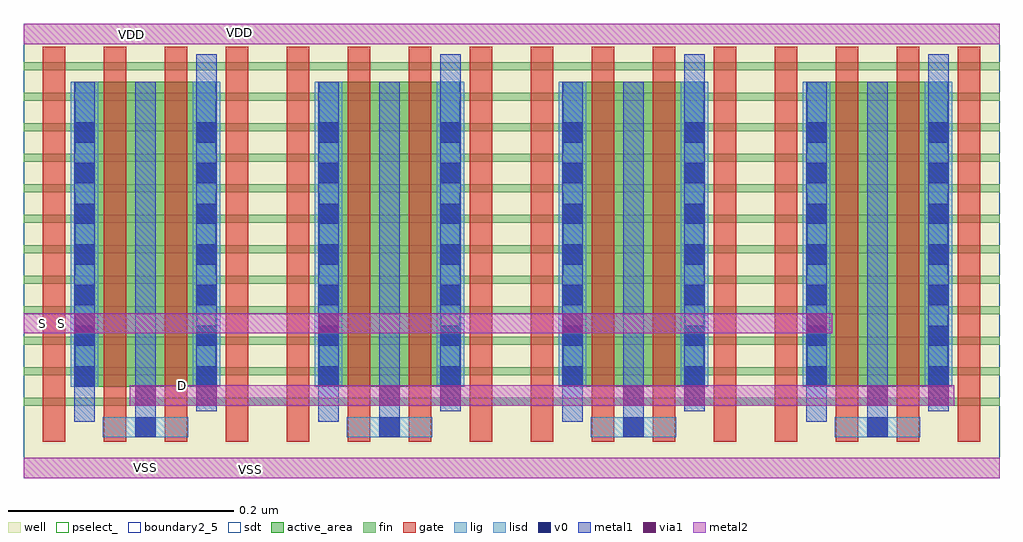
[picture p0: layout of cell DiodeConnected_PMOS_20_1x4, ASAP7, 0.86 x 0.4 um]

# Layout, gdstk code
import gdstk
lib = gdstk.Library(unit=1e-6, precision=2.5e-10)
def R(c, l, rs):  # rectangles x0, y0, x1, y1
    for r in rs: c.add(gdstk.rectangle(r[:2], r[2:], *l))
def A(c, l, x, y, w, h, nx, ny, dx, dy):  # array of equal rectangles
    R(c, l, [(x+i*dx, y+j*dy, x+i*dx+w, y+j*dy+h) for i in range(nx) for j in range(ny)])
well = (1, 0)
fin = (2, 0)
gate = (7, 0)
active_area = (11, 0)
pselect_ = (13, 0)
lig = (16, 0)
lisd = (17, 0)
v0 = (18, 0)
metal1 = (19, 0)
metal2 = (20, 0)
via1 = (21, 0)
sdt = (88, 0)
boundary2_5 = (235, 5)

m2_m1_cdns_543943358320 = lib.new_cell('M2_M1_CDNS_543943358320')
R(m2_m1_cdns_543943358320, metal1, [(-0.009,-0.014,0.009,0.014)])
R(m2_m1_cdns_543943358320, metal2, [(-0.014,-0.009,0.014,0.009)])
R(m2_m1_cdns_543943358320, via1, [(-0.009,-0.009,0.009,0.009)])

diodeconnected_pmos_20_1 = lib.new_cell('DiodeConnected_PMOS_20_1x4')
A(diodeconnected_pmos_20_1, well, 0, 0, 0.216, 0.402, 4, 1, 0.216, 0)
A(diodeconnected_pmos_20_1, fin, 0, 0.064, 0.216, 0.007, 4, 10, 0.216, 0.027)
R(diodeconnected_pmos_20_1, fin, [(0,0.334,0.216,0.341), (0,0.334,0.216,0.341), (0.216,0.334,0.432,0.341), (0.216,0.334,0.432,0.341), (0.432,0.334,0.648,0.341), (0.432,0.334,0.648,0.341), (0.648,0.334,0.864,0.341), (0.648,0.334,0.864,0.341), (0,0.361,0.216,0.368), (0,0.361,0.216,0.368), (0.216,0.361,0.432,0.368), (0.216,0.361,0.432,0.368), (0.432,0.361,0.648,0.368), (0.432,0.361,0.648,0.368), (0.648,0.361,0.864,0.368), (0.648,0.361,0.864,0.368)])
A(diodeconnected_pmos_20_1, gate, 0.017, 0.032, 0.02, 0.35, 16, 1, 0.054, 0)
A(diodeconnected_pmos_20_1, active_area, 0.046, 0.081, 0.124, 0.27, 4, 1, 0.216, 0)
A(diodeconnected_pmos_20_1, pselect_, 0, 0, 0.216, 0.402, 4, 1, 0.216, 0)
A(diodeconnected_pmos_20_1, lig, 0.07, 0.036, 0.076, 0.018, 4, 1, 0.216, 0)
A(diodeconnected_pmos_20_1, lisd, 0.042, 0.081, 0.024, 0.27, 8, 1, 0.108, 0)
A(diodeconnected_pmos_20_1, v0, 0.099, 0.036, 0.018, 0.018, 4, 1, 0.216, 0)
A(diodeconnected_pmos_20_1, v0, 0.045, 0.081, 0.018, 0.018, 8, 7, 0.108, 0.036)
A(diodeconnected_pmos_20_1, metal1, 0.099, 0.036, 0.018, 0.315, 4, 1, 0.216, 0)
A(diodeconnected_pmos_20_1, metal1, 0.045, 0.05, 0.018, 0.301, 4, 1, 0.216, 0)
A(diodeconnected_pmos_20_1, metal1, 0.153, 0.059, 0.018, 0.316, 4, 1, 0.216, 0)
R(diodeconnected_pmos_20_1, metal2, [(0,0,0.864,0.018), (0,0,0.864,0.018), (0.094,0.064,0.824,0.082), (0.094,0.064,0.824,0.082), (0,0.128,0.716,0.146), (0,0.128,0.716,0.146), (0,0.384,0.864,0.402), (0,0.384,0.864,0.402)])
A(diodeconnected_pmos_20_1, sdt, 0.042, 0.081, 0.024, 0.27, 8, 1, 0.108, 0)
R(diodeconnected_pmos_20_1, boundary2_5, [(0,0,0.864,0.402)])
diodeconnected_pmos_20_1.add(gdstk.Reference(m2_m1_cdns_543943358320, (0.702,0.137)))
diodeconnected_pmos_20_1.add(gdstk.Reference(m2_m1_cdns_543943358320, (0.756,0.073)))
diodeconnected_pmos_20_1.add(gdstk.Reference(m2_m1_cdns_543943358320, (0.81,0.073)))
diodeconnected_pmos_20_1.add(gdstk.Reference(m2_m1_cdns_543943358320, (0.486,0.137)))
diodeconnected_pmos_20_1.add(gdstk.Reference(m2_m1_cdns_543943358320, (0.54,0.073)))
diodeconnected_pmos_20_1.add(gdstk.Reference(m2_m1_cdns_543943358320, (0.594,0.073)))
diodeconnected_pmos_20_1.add(gdstk.Reference(m2_m1_cdns_543943358320, (0.27,0.137)))
diodeconnected_pmos_20_1.add(gdstk.Reference(m2_m1_cdns_543943358320, (0.324,0.073)))
diodeconnected_pmos_20_1.add(gdstk.Reference(m2_m1_cdns_543943358320, (0.378,0.073)))
diodeconnected_pmos_20_1.add(gdstk.Reference(m2_m1_cdns_543943358320, (0.054,0.137)))
diodeconnected_pmos_20_1.add(gdstk.Reference(m2_m1_cdns_543943358320, (0.108,0.073)))
diodeconnected_pmos_20_1.add(gdstk.Reference(m2_m1_cdns_543943358320, (0.162,0.073)))
diodeconnected_pmos_20_1.add(gdstk.Label('VDD', (0.096,0.393), layer=20, texttype=0))
diodeconnected_pmos_20_1.add(gdstk.Label('S', (0.034,0.137), layer=20, texttype=0))
diodeconnected_pmos_20_1.add(gdstk.Label('D', (0.141,0.082), layer=20, texttype=0))
diodeconnected_pmos_20_1.add(gdstk.Label('VSS', (0.108,0.009), layer=20, texttype=0))
diodeconnected_pmos_20_1.add(gdstk.Label('S', (0.017,0.137), layer=20, texttype=0))
diodeconnected_pmos_20_1.add(gdstk.Label('D', (0.135,0.073), layer=20, texttype=0))
diodeconnected_pmos_20_1.add(gdstk.Label('VSS', (0.201,0.008), layer=20, texttype=0))
diodeconnected_pmos_20_1.add(gdstk.Label('VDD', (0.191,0.394), layer=20, texttype=0))

lib.write_gds('DiodeConnected_PMOS_20_1x4.gds')
